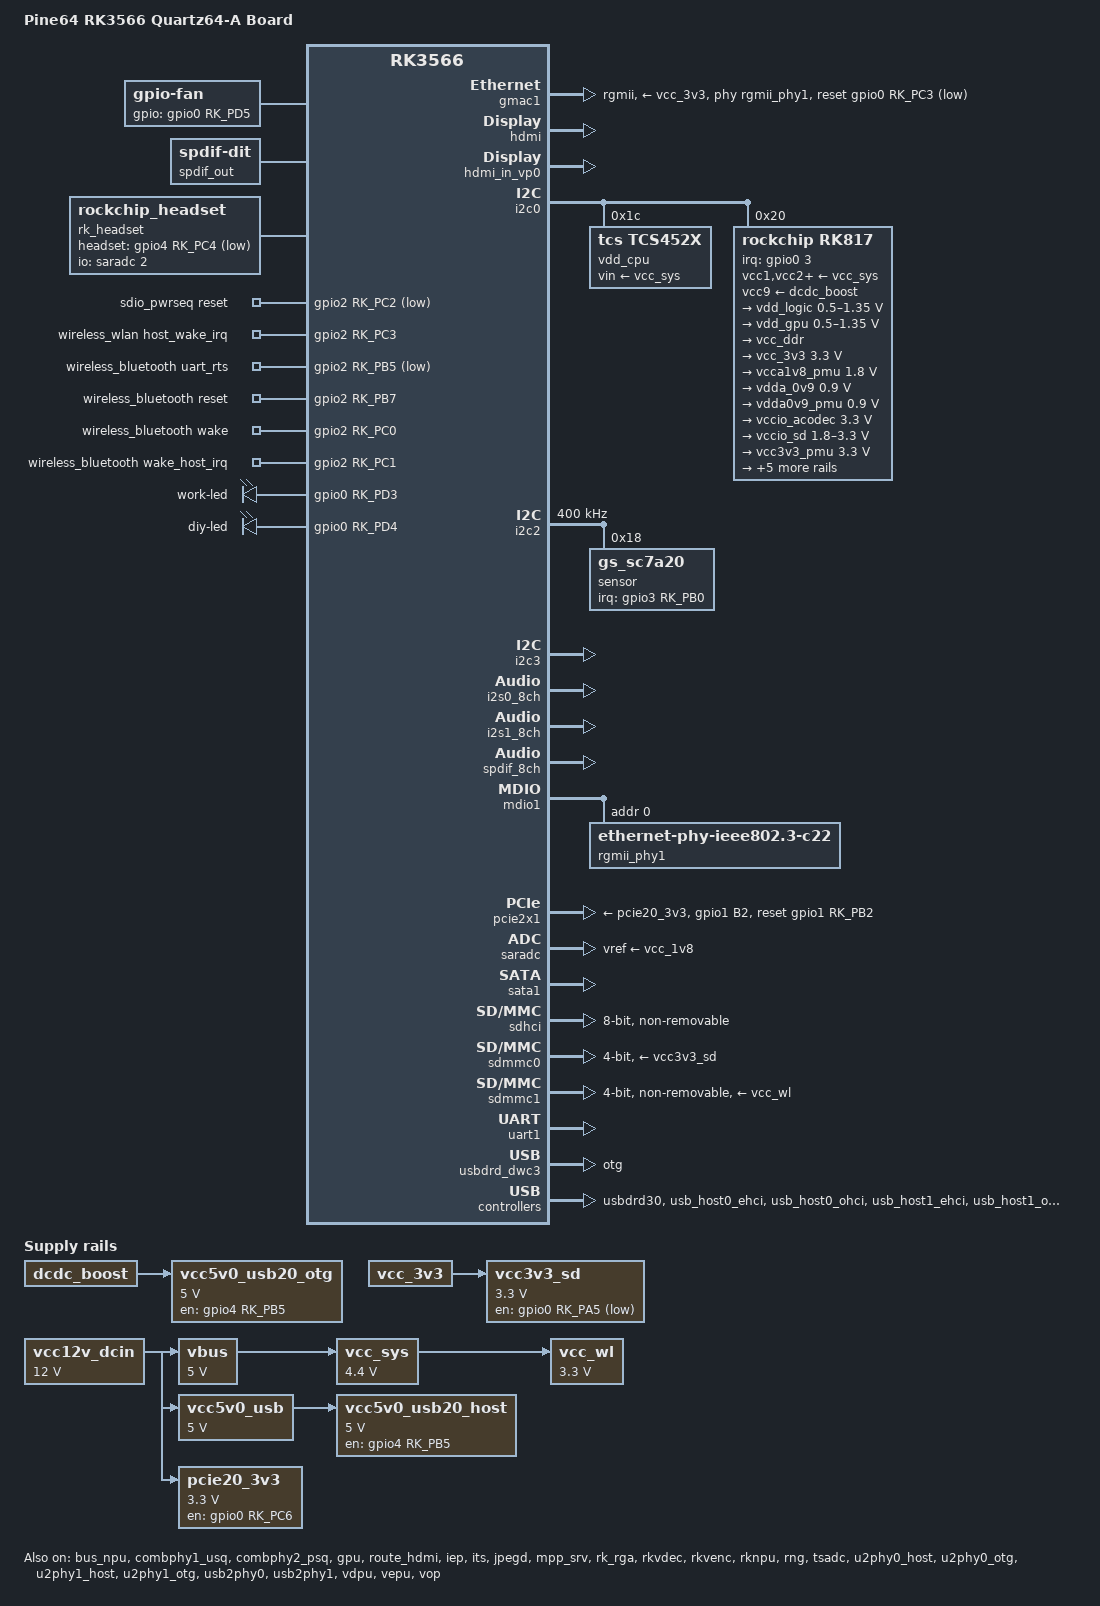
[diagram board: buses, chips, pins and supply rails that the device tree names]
// SPDX&sata1 -License-Identifier: (GPL-2.0+ OR MIT)
/*
 *  2022 Shaggy013
 *
 */

/dts-v1/;

#include <dt-bindings/gpio/gpio.h>
#include <dt-bindings/pwm/pwm.h>
#include <dt-bindings/pinctrl/rockchip.h>
//#include <dt-bindings/input/rk-input.h>
#include <dt-bindings/input/linux-event-codes.h>
#include <dt-bindings/display/drm_mipi_dsi.h>
#include <dt-bindings/sensor-dev.h>
#include <dt-bindings/display/media-bus-format.h>
#include <dt-bindings/display/rockchip_vop.h>
/* for 1056000 memeory speed */
//#include "rk3566-diff3.dtsi"
/* for 1560000 memeory speed */
//#include "rk3566-diff2.dtsi" 
#include "rk3566.dtsi"
#include "rk3568-android.dtsi"

/ {
	model = "Pine64 RK3566 Quartz64-A Board";
	compatible = "rockchip,rk3566-quartz64-a", "rockchip,rk3566";

//	chosen: chosen {
//		bootargs = "earlycon=uart8250,mmio32,0xfe660000 console=ttyFIQ0 root=PARTLABEL=rootfs rootfstype=ext4 rw rootwait overlayroot=device:dev=PARTLABEL=userdata,fstype=ext4,mkfs=1";
//	};
//	chosen: chosen {
//		bootargs = "earlycon=uart8250,mmio32,0xfe660000 console=ttyFIQ0 coherent_pool=1m";
//

	aliases {
		mmc0 = &sdmmc0;
		mmc1 = &sdmmc1;
		mmc2 = &sdhci;
	};

	fan: gpio_fan {
		compatible = "gpio-fan";
		gpios = <&gpio0 RK_PD5 GPIO_ACTIVE_HIGH>;
		gpio-fan,speed-map = <0    0
				      4500 1>;
		pinctrl-names = "default";
		pinctrl-0 = <&fan_en_h>;
		#cooling-cells = <2>;
	};


	vcc12v_dcin: vcc12v_dcin {
		compatible = "regulator-fixed";
		regulator-name = "vcc12v_dcin";
		regulator-always-on;
		regulator-boot-on;
		regulator-min-microvolt = <12000000>;
		regulator-max-microvolt = <12000000>;
	};

	/* vbus feeds the rk817 usb input.
	 * With no battery attached, also feeds vcc_bat+
	 * via ON/OFF_BAT jumper
	 */
	vbus: vbus {
		compatible = "regulator-fixed";
		regulator-name = "vbus";
		regulator-always-on;
		regulator-boot-on;
		regulator-min-microvolt = <5000000>;
		regulator-max-microvolt = <5000000>;
		vin-supply = <&vcc12v_dcin>;
	};

	vcc5v0_usb: vcc5v0_usb {
		compatible = "regulator-fixed";
		regulator-name = "vcc5v0_usb";
		regulator-always-on;
		regulator-boot-on;
		regulator-min-microvolt = <5000000>;
		regulator-max-microvolt = <5000000>;
		vin-supply = <&vcc12v_dcin>;
	};

	/* all four ports are controlled by one gpio
	 * the host ports are sourced from vcc5v0_usb
	 * the otg port is sourced from vcc5v0_midu
	 */
	vcc5v0_usb20_host: vcc5v0_usb20_host {
		compatible = "regulator-fixed";
		regulator-name = "vcc5v0_usb20_host";
		enable-active-high;
		gpio = <&gpio4 RK_PB5 GPIO_ACTIVE_HIGH>;
		pinctrl-names = "default";
		pinctrl-0 = <&vcc5v0_usb20_host_en>;
		regulator-min-microvolt = <5000000>;
		regulator-max-microvolt = <5000000>;
		vin-supply = <&vcc5v0_usb>;
	};

	vcc5v0_usb20_otg: vcc5v0_usb20_otg {
		compatible = "regulator-fixed";
		regulator-name = "vcc5v0_usb20_otg";
		enable-active-high;
		gpio = <&gpio4 RK_PB5 GPIO_ACTIVE_HIGH>;
		regulator-min-microvolt = <5000000>;
		regulator-max-microvolt = <5000000>;
		vin-supply = <&dcdc_boost>;
	};
	
	vcc3v3_sd: vcc3v3_sd {
		compatible = "regulator-fixed";
		enable-active-low;
		gpio = <&gpio0 RK_PA5 GPIO_ACTIVE_LOW>;
		pinctrl-names = "default";
		pinctrl-0 = <&vcc_sd_h>;
		regulator-boot-on;
		regulator-name = "vcc3v3_sd";
		regulator-min-microvolt = <3300000>;
		regulator-max-microvolt = <3300000>;
		vin-supply = <&vcc_3v3>;
	};

	/* sourced from vbus and vcc_bat+ via rk817 sw5 */
	vcc_sys: vcc-sys {
		compatible = "regulator-fixed";
		regulator-name = "vcc_sys";
		regulator-always-on;
		regulator-boot-on;
		regulator-min-microvolt = <4400000>;
		regulator-max-microvolt = <4400000>;
		vin-supply = <&vbus>;
	};

	/* sourced from vcc_sys, sdio module operates internally at 3.3v */
	vcc_wl: vcc_wl {
		compatible = "regulator-fixed";
		regulator-name = "vcc_wl";
		regulator-always-on;
		regulator-boot-on;
		regulator-min-microvolt = <3300000>;
		regulator-max-microvolt = <3300000>;
		vin-supply = <&vcc_sys>;
	};
	pcie20_3v3: pcie20_3v3 {
		compatible = "regulator-fixed";
		regulator-name = "pcie20_3v3";
		regulator-min-microvolt = <3300000>;
		regulator-max-microvolt = <3300000>;
		gpio = <&gpio0 RK_PC6 GPIO_ACTIVE_HIGH>;
		pinctrl-names = "default";
		pinctrl-0 = <&pcie_enable_h>;
		enable-active-high;
		startup-delay-us = <5000>;
		vin-supply = <&vcc12v_dcin>;
	};

	charge-animation {
		compatible = "rockchip,uboot-charge";
		rockchip,uboot-charge-on = <0>;
		rockchip,android-charge-on = <0>;
		rockchip,uboot-low-power-voltage = <3350>;
		rockchip,screen-on-voltage = <3400>;
		rockchip,auto-wakeup-interval = <60>;
		status = "okay";
	};

//	adc_keys: adc-keys {
//		compatible = "adc-keys";
//		io-channels = <&saradc 0>;
//		io-channel-names = "buttons";
//		keyup-threshold-microvolt = <1800000>;
//		poll-interval = <100>;
//
//		vol-up-key {
//			label = "volume up";
//			linux,code = <KEY_VOLUMEUP>;
//			press-threshold-microvolt = <1750>;
//		};
//
//		vol-down-key {
//			label = "volume down";
//			linux,code = <KEY_VOLUMEDOWN>;
//			press-threshold-microvolt = <297500>;
//		};
//	};

	hdmi_sound: hdmi-sound {
		compatible = "simple-audio-card";
		simple-audio-card,format = "i2s";
		simple-audio-card,mclk-fs = <256>;
		simple-audio-card,name = "rockchip,hdmi";
		status = "okay";

		simple-audio-card,cpu {
				sound-dai = <&i2s0_8ch>;
		};
		simple-audio-card,codec {
				sound-dai = <&hdmi>;
		};
	};

	spdif-sound {
		status = "okay";
		compatible = "simple-audio-card";
		simple-audio-card,name = "ROCKCHIP,SPDIF";
		simple-audio-card,cpu {
				sound-dai = <&spdif_8ch>;
		};
		simple-audio-card,codec {
				sound-dai = <&spdif_out>;
		};
	};

	spdif_out: spdif-out {
			status = "okay";
			compatible = "linux,spdif-dit";
			#sound-dai-cells = <0>;
	};

	
	rk817_sound: rk817-sound {
		status = "okay";
		compatible = "simple-audio-card";
		simple-audio-card,format = "i2s";
		simple-audio-card,name = "rockchip,rk809-codec";
		simple-audio-card,mclk-fs = <256>;

		simple-audio-card,cpu {
			sound-dai = <&i2s1_8ch>;
		};
		simple-audio-card,codec {
			sound-dai = <&rk817_codec>;
		};
	};

	vad_sound: vad-sound {
		status = "disabled";
		compatible = "rockchip,multicodecs-card";
		rockchip,card-name = "rockchip,rk3568-vad";
		rockchip,cpu = <&i2s1_8ch>;
		rockchip,codec = <&rk817_codec>, <&vad>;
	};

	rk_headset: rk-headset {
		compatible = "rockchip_headset";
		headset_gpio = <&gpio4 RK_PC4 GPIO_ACTIVE_LOW>;
		pinctrl-names = "default";
		pinctrl-0 = <&hp_det>;
		io-channels = <&saradc 2>;
	};

	sdio_pwrseq: sdio-pwrseq {
		compatible = "mmc-pwrseq-simple";
		clocks = <&rk817 1>;
		clock-names = "ext_clock";
		pinctrl-names = "default";
		pinctrl-0 = <&wifi_enable_h>;

		/*
		 * On the module itself this is one of these (depending
		 * on the actual card populated):
		 * - SDIO_RESET_L_WL_REG_ON
		 * - PDN (power down when low)
		 */
		post-power-on-delay-ms = <200>;
		reset-gpios = <&gpio2 RK_PC2 GPIO_ACTIVE_LOW>;
	};

	wireless_wlan: wireless-wlan {
    
		compatible = "wlan-platdata";
		rockchip,grf = <&grf>;
		clocks = <&rk817 1>;
		clock-names = "clk_wifi";
		wifi_chip_type = "ap6255";
		pinctrl-names = "default";
		pinctrl-0 = <&wifi_host_wake_irq>;
		WIFI,host_wake_irq = <&gpio2 RK_PC3 GPIO_ACTIVE_HIGH>;
		status = "okay";
	};

	wireless_bluetooth: wireless-bluetooth {
    
		compatible = "bluetooth-platdata";
		clocks = <&rk817 1>;
		clock-names = "ext_clock";
		//wifi-bt-power-toggle;
		uart_rts_gpios = <&gpio2 RK_PB5 GPIO_ACTIVE_LOW>;
		pinctrl-names = "default", "rts_gpio";
		pinctrl-0 = <&uart1m0_rtsn>;
		pinctrl-1 = <&uart1_gpios>;
		BT,reset_gpio    = <&gpio2 RK_PB7 GPIO_ACTIVE_HIGH>;
		BT,wake_gpio     = <&gpio2 RK_PC0 GPIO_ACTIVE_HIGH>;
		BT,wake_host_irq = <&gpio2 RK_PC1 GPIO_ACTIVE_HIGH>;
		status = "okay";
	};
	
	leds {
		compatible = "gpio-leds";

		led-work {
			label = "work-led";
			default-state = "off";
			gpios = <&gpio0 RK_PD3 GPIO_ACTIVE_HIGH>;
			pinctrl-names = "default";
			pinctrl-0 = <&work_led_enable_h>;
			retain-state-suspended;
		};

	led-diy {
			label = "diy-led";
			default-state = "on";
			gpios = <&gpio0 RK_PD4 GPIO_ACTIVE_HIGH>;
			linux,default-trigger = "heartbeat";
			pinctrl-names = "default";
			pinctrl-0 = <&diy_led_enable_h>;
			retain-state-suspended;
		};
	};
	
	reserved_memory: reserved-memory {
		#address-cells = <2>;
		#size-cells = <2>;
		ranges;
		
		rknpu_reserved: rknpu {
			compatible = "shared-dma-pool";
			inactive;
			reusable;     
			size = <0x0 0x20000000>;
			alignment = <0x0 0x1000>;
		};
	};
};

&bus_npu {
	bus-supply = <&vdd_logic>;
	pvtm-supply = <&vdd_cpu>;
	status = "okay";
};

&combphy1_usq {
	status = "okay";
};

&combphy2_psq {
	status = "okay";
};

&cpu0 {
	cpu-supply = <&vdd_cpu>;
};


&dfi {
	status = "disabled";
};

//&display_subsystem {
//    status = "okay";
//};

&dmc {
	//auto-freq-en = <0>;
	center-supply = <&vdd_logic>;
	status = "disabled";
};

&gmac1 {
	phy-mode = "rgmii";
	clock_in_out = "input";
	
	snps,reset-gpio = <&gpio0 RK_PC3 GPIO_ACTIVE_LOW>;
	snps,reset-active-low;
	/* Reset time is 20ms, 100ms for rtl8211f */
	snps,reset-delays-us = <0 20000 100000>;
	
	assigned-clocks = <&cru SCLK_GMAC1_RX_TX>, <&cru SCLK_GMAC1_RGMII_SPEED>, <&cru SCLK_GMAC1>;
	assigned-clock-parents = <&cru SCLK_GMAC1_RGMII_SPEED>, <&cru SCLK_GMAC1>, <&gmac1_clkin>;
	
	
	pinctrl-names = "default";
	pinctrl-0 = <&gmac1m0_miim
		     &gmac1m0_tx_bus2
		     &gmac1m0_rx_bus2
		     &gmac1m0_rgmii_clk
		     &gmac1m0_clkinout
		     &gmac1m0_rgmii_bus>;
	
	tx_delay = <0x30>;
	rx_delay = <0x10>;
	
	phy-handle = <&rgmii_phy1>;
	phy-supply = <&vcc_3v3>;
	status = "okay";
};

&gpu {
	mali-supply = <&vdd_gpu>;
	status = "okay";
};

&hdmi {
	status = "okay";
};

&hdmi_in_vp0 {
	status = "okay";
};

&hdmi_in_vp1 {
	status = "disabled";
};

&hdmi_sound {
	status = "okay";
};

&route_hdmi {
	status = "okay";
	connect = <&vp0_out_hdmi>;
};

&i2c0 {
	status = "okay";

	vdd_cpu: tcs4525@1c {
		compatible = "tcs,tcs452x";
		reg = <0x1c>;
		vin-supply = <&vcc_sys>;
		regulator-compatible = "fan53555-reg";
		regulator-name = "vdd_cpu";
		regulator-min-microvolt = <712500>;
		regulator-max-microvolt = <1390000>;
		regulator-ramp-delay = <2300>;
		fcs,suspend-voltage-selector = <1>;
		regulator-boot-on;
		regulator-always-on;
		regulator-state-mem {
			regulator-off-in-suspend;
		};
	};

	rk817: pmic@20 {
		compatible = "rockchip,rk817";
		reg = <0x20>;
		interrupt-parent = <&gpio0>;
		interrupts = <3 IRQ_TYPE_LEVEL_LOW>;

		pinctrl-names = "default", "pmic-sleep",
				"pmic-power-off", "pmic-reset";
		pinctrl-0 = <&pmic_int>;
		pinctrl-1 = <&soc_slppin_slp>, <&rk817_slppin_slp>;
		pinctrl-2 = <&soc_slppin_gpio>, <&rk817_slppin_pwrdn>;
		pinctrl-3 = <&soc_slppin_gpio>, <&rk817_slppin_rst>;

		rockchip,system-power-controller;
		wakeup-source;
		#clock-cells = <1>;
		clock-output-names = "rk808-clkout1", "rk808-clkout2";
		//fb-inner-reg-idxs = <2>;
		/* 1: rst regs (default in codes), 0: rst the pmic */
		pmic-reset-func = <0>;
		/* not save the PMIC_POWER_EN register in uboot */
		not-save-power-en = <1>;
		vcc1-supply = <&vcc_sys>;
		vcc2-supply = <&vcc_sys>;
		vcc3-supply = <&vcc_sys>;
		vcc4-supply = <&vcc_sys>;
		vcc5-supply = <&vcc_sys>;
		vcc6-supply = <&vcc_sys>;
		vcc7-supply = <&vcc_sys>;
		vcc8-supply = <&vcc_sys>;
		vcc9-supply = <&dcdc_boost>;

		pwrkey {
			status = "okay";
		};

		pinctrl_rk8xx: pinctrl_rk8xx {
			gpio-controller;
			#gpio-cells = <2>;

			rk817_slppin_null: rk817_slppin_null {
				pins = "gpio_slp";
				function = "pin_fun0";
			};

			rk817_slppin_slp: rk817_slppin_slp {
				pins = "gpio_slp";
				function = "pin_fun1";
			};

			rk817_slppin_pwrdn: rk817_slppin_pwrdn {
				pins = "gpio_slp";
				function = "pin_fun2";
			};

			rk817_slppin_rst: rk817_slppin_rst {
				pins = "gpio_slp";
				function = "pin_fun3";
			};
		};

		regulators {
			vdd_logic: DCDC_REG1 {
				regulator-always-on;
				regulator-boot-on;
				regulator-min-microvolt = <500000>;
				regulator-max-microvolt = <1350000>;
				regulator-init-microvolt = <900000>;
				regulator-ramp-delay = <6001>;
				regulator-initial-mode = <0x2>;
				regulator-name = "vdd_logic";
				regulator-state-mem {
					regulator-on-in-suspend;
					regulator-suspend-microvolt = <900000>;
				};
			};

			vdd_gpu: DCDC_REG2 {
				regulator-always-on;
				regulator-boot-on;
				regulator-min-microvolt = <500000>;
				regulator-max-microvolt = <1350000>;
				regulator-init-microvolt = <900000>;
				regulator-ramp-delay = <6001>;
				regulator-initial-mode = <0x2>;
				regulator-name = "vdd_gpu";
				regulator-state-mem {
					regulator-off-in-suspend;
				};
			};

			vcc_ddr: DCDC_REG3 {
				regulator-always-on;
				regulator-boot-on;
				regulator-initial-mode = <0x2>;
				regulator-name = "vcc_ddr";
				regulator-state-mem {
					regulator-on-in-suspend;
				};
			};

			vcc_3v3: DCDC_REG4 {
				regulator-always-on;
				regulator-boot-on;
				regulator-min-microvolt = <3300000>;
				regulator-max-microvolt = <3300000>;
				regulator-initial-mode = <0x2>;
				regulator-name = "vcc_3v3";
				regulator-state-mem {
					regulator-off-in-suspend;
				};
			};

			vcca1v8_pmu: LDO_REG1 {
				regulator-always-on;
				regulator-boot-on;
				regulator-min-microvolt = <1800000>;
				regulator-max-microvolt = <1800000>;
				regulator-name = "vcca1v8_pmu";
				regulator-state-mem {
					regulator-on-in-suspend;
					regulator-suspend-microvolt = <1800000>;
				};
			};

			vdda_0v9: LDO_REG2 {
				regulator-always-on;
				regulator-boot-on;
				regulator-min-microvolt = <900000>;
				regulator-max-microvolt = <900000>;
				regulator-name = "vdda_0v9";
				regulator-state-mem {
					regulator-off-in-suspend;
				};
			};

			vdda0v9_pmu: LDO_REG3 {
				regulator-always-on;
				regulator-boot-on;
				regulator-min-microvolt = <900000>;
				regulator-max-microvolt = <900000>;
				regulator-name = "vdda0v9_pmu";
				regulator-state-mem {
					regulator-on-in-suspend;
					regulator-suspend-microvolt = <900000>;
				};
			};

			vccio_acodec: LDO_REG4 {
				regulator-always-on;
				regulator-boot-on;
				regulator-min-microvolt = <3300000>;
				regulator-max-microvolt = <3300000>;
				regulator-name = "vccio_acodec";
				regulator-state-mem {
					regulator-off-in-suspend;
				};
			};

			vccio_sd: LDO_REG5 {
				regulator-always-on;
				regulator-boot-on;
				regulator-min-microvolt = <1800000>;
				regulator-max-microvolt = <3300000>;
				regulator-name = "vccio_sd";
				regulator-state-mem {
					regulator-off-in-suspend;
				};
			};

			vcc3v3_pmu: LDO_REG6 {
				regulator-always-on;
				regulator-boot-on;
				regulator-min-microvolt = <3300000>;
				regulator-max-microvolt = <3300000>;
				regulator-name = "vcc3v3_pmu";
				regulator-state-mem {
					regulator-on-in-suspend;
					regulator-suspend-microvolt = <3300000>;
				};
			};

			vcc_1v8: LDO_REG7 {
				regulator-always-on;
				regulator-boot-on;
				regulator-min-microvolt = <1800000>;
				regulator-max-microvolt = <1800000>;
				regulator-name = "vcc_1v8";
				regulator-state-mem {
					regulator-off-in-suspend;
				};
			};

			vcc1v8_dvp: LDO_REG8 {
				regulator-always-on;
				regulator-boot-on;
				regulator-min-microvolt = <1800000>;
				regulator-max-microvolt = <1800000>;
				regulator-name = "vcc1v8_dvp";
				regulator-state-mem {
					regulator-off-in-suspend;
				};
			};

			vcc2v8_dvp: LDO_REG9 {
				regulator-always-on;
				regulator-boot-on;
				regulator-min-microvolt = <2800000>;
				regulator-max-microvolt = <2800000>;
				regulator-name = "vcc2v8_dvp";
				regulator-state-mem {
					regulator-off-in-suspend;
				};
			};

			dcdc_boost: BOOST {
				regulator-always-on;
				regulator-boot-on;
				regulator-min-microvolt = <4700000>;
				regulator-max-microvolt = <5400000>;
				regulator-name = "boost";
				regulator-state-mem {
					regulator-off-in-suspend;
				};
			};

			otg_switch: OTG_SWITCH {
				regulator-name = "otg_switch";
				regulator-state-mem {
					regulator-off-in-suspend;
				};
			};
		};

		battery {
			compatible = "rk817,battery";
			ocv_table = <3400 3513 3578 3687 3734 3752 3763
				     3766 3771 3784 3804 3836 3885 3925
				     3962 4005 4063 4114 4169 4227 4303>;
			design_capacity = <5000>;
			design_qmax = <5500>;
			bat_res = <100>;
			sleep_enter_current = <150>;
			sleep_exit_current = <180>;
			sleep_filter_current = <100>;
			power_off_thresd = <3450>;
			zero_algorithm_vol = <3850>;
			max_soc_offset = <60>;
			monitor_sec = <5>;
			sample_res = <10>;
			virtual_power = <0>;
		};

		charger {
			compatible = "rk817,charger";
			min_input_voltage = <4500>;
			max_input_current = <1500>;
			max_chrg_current = <2000>;
			max_chrg_voltage = <4300>;
			chrg_term_mode = <0>;
			chrg_finish_cur = <300>;
			virtual_power = <0>;
			dc_det_adc = <0>;
			extcon = <&usb2phy0>;
		};

		rk817_codec: codec {
			#sound-dai-cells = <0>;
			compatible = "rockchip,rk817-codec";
			clocks = <&cru I2S1_MCLKOUT>;
			clock-names = "mclk";
			assigned-clocks = <&cru I2S1_MCLKOUT>, <&cru I2S1_MCLK_TX_IOE>;
			assigned-clock-rates = <12288000>;
			assigned-clock-parents = <&cru I2S1_MCLKOUT_TX>, <&cru I2S1_MCLKOUT_TX>;
			pinctrl-names = "default";
			pinctrl-0 = <&i2s1m0_mclk>;
			hp-volume = <20>;
			spk-volume = <3>;
			out-l2spk-r2hp;
			spk-ctl-gpios = <&gpio0 RK_PC4 GPIO_ACTIVE_HIGH>;
			status = "okay";
		};
	};
};

&i2c1 {
	status = "disabled";
	tps65185: tps65185@68 {
		status = "okay";
		compatible = "ti,tps65185";
		reg = <0x68>;
		pinctrl-names = "default";
		pinctrl-0 = <&tps65185_gpio>;
		int-gpios = <&gpio4 RK_PB0 GPIO_ACTIVE_HIGH>;
		wakeup-gpios = <&gpio4 RK_PC3 GPIO_ACTIVE_HIGH>;
		vcomctl-gpios = <&gpio4 RK_PB2 GPIO_ACTIVE_HIGH>;
		powerup-gpios = <&gpio4 RK_PC4 GPIO_ACTIVE_HIGH>;
		poweren-gpios = <&gpio4 RK_PB1 GPIO_ACTIVE_HIGH>;
	};
};

&i2c2 {
status = "okay";
	clock-frequency = <400000>;
	i2c-scl-rising-time-ns = <144>;
	i2c-scl-falling-time-ns = <4>;

	sensor@18 {
		compatible = "gs_sc7a20";
		reg = <0x18>;
		type = <SENSOR_TYPE_ACCEL>;
		irq_enable = <0>;
		pinctrl-names = "default";
		pinctrl-0 = <&sensor_gpio>;
		irq-gpio = <&gpio3 RK_PB0 IRQ_TYPE_EDGE_RISING>;
		poll_delay_ms = <10>;
		layout = <1>;
	};
};

&i2c3 {
	status = "okay";
//	pinctrl-names = "default";
//	pinctrl-0 = <&i2c3m1_xfer>;
};

&i2s0_8ch {
	status = "okay";
};

&i2s1_8ch {
    
	status = "okay";
	rockchip,clk-trcm = <1>;
	pinctrl-names = "default";
	pinctrl-0 = <&i2s1m0_sclktx
		     &i2s1m0_lrcktx
		     &i2s1m0_sdi0
		     &i2s1m0_sdo0>;
};

&spdif_8ch {
	status = "okay";
};

&iep {
	status = "okay";
};

&iep_mmu {
	status = "okay";
};

&its {
    status = "okay";
};

&jpegd {
	status = "okay";
};

&jpegd_mmu {
	status = "okay";
};

&mdio1 {
        rgmii_phy1: phy@0 {
                compatible = "ethernet-phy-ieee802.3-c22";
                reg = <0x0>;
        };
};

&mpp_srv {
	status = "okay";
};

&nandc0 {
	status = "disabled";
};

&pcie2x1 {
	pinctrl-names = "default";
	pinctrl-0 = <&pcie_reset_h>;
	reset-gpios = <&gpio1 RK_PB2 GPIO_ACTIVE_HIGH>;
	status = "okay";
	vpcie3v3-supply = <&pcie20_3v3>;
};

&pinctrl {

	bt {
		bt_enable_h: bt-enable-h {
			rockchip,pins = <2 RK_PB7 RK_FUNC_GPIO &pcfg_pull_none>;
		};

		bt_host_wake_l: bt-host-wake-l {
			rockchip,pins = <2 RK_PC1 RK_FUNC_GPIO &pcfg_pull_down>;
		};

		bt_wake_l: bt-wake-l {
			rockchip,pins = <2 RK_PC0 RK_FUNC_GPIO &pcfg_pull_none>;
		};
	};

	headphone {
		hp_det: hp-det {
			rockchip,pins = <4 RK_PC4 RK_FUNC_GPIO &pcfg_pull_down>;
		};
	};

	sensor {
		sensor_gpio: sensor-gpio {
			rockchip,pins = <3 RK_PB0 RK_FUNC_GPIO &pcfg_pull_none>;
		};
	};
	
	tps_pmic {
		tps65185_gpio: tps65185-gpio {
			rockchip,pins =
					<4 RK_PB2 RK_FUNC_GPIO &pcfg_pull_up>,
					<3 RK_PA5 RK_FUNC_GPIO &pcfg_pull_up>,
					<3 RK_PB0 RK_FUNC_GPIO &pcfg_pull_up>;
		};
	};
	
	pcie {
		pcie_enable_h: pcie-enable-h {
			rockchip,pins = <0 RK_PC6 RK_FUNC_GPIO &pcfg_pull_none>;
		};

		pcie_reset_h: pcie-reset-h {
			rockchip,pins = <1 RK_PB2 RK_FUNC_GPIO &pcfg_pull_none>;
		};
	};

	pmic {
		pmic_int: pmic_int {
			rockchip,pins =
				<0 RK_PA3 RK_FUNC_GPIO &pcfg_pull_up>;
		};

		soc_slppin_gpio: soc_slppin_gpio {
			rockchip,pins =
				<0 RK_PA2 RK_FUNC_GPIO &pcfg_output_low>;
		};

		soc_slppin_slp: soc_slppin_slp {
			rockchip,pins =
				<0 RK_PA2 1 &pcfg_pull_none>;
		};

		soc_slppin_rst: soc_slppin_rst {
			rockchip,pins =
				<0 RK_PA2 2 &pcfg_pull_none>;
		};
	};

	sdio-pwrseq {
		wifi_enable_h: wifi-enable-h {
			rockchip,pins = <2 RK_PC2 RK_FUNC_GPIO &pcfg_pull_none>;
		};
	};
	
	usb2 {
		vcc5v0_usb20_host_en: vcc5v0-usb20-host-en {
			rockchip,pins = <4 RK_PB5 RK_FUNC_GPIO &pcfg_pull_none>;
		};
	};

	vcc_sd {
		vcc_sd_h: vcc-sd-h {
			rockchip,pins = <0 RK_PA5 RK_FUNC_GPIO &pcfg_pull_none>;
		};
	};

	wireless-wlan {
		wifi_host_wake_irq: wifi-host-wake-irq {
			rockchip,pins = <2 RK_PC3 RK_FUNC_GPIO &pcfg_pull_down>;
		};
	};

	wireless-bluetooth {
		uart1_gpios: uart1-gpios {
			rockchip,pins = <2 RK_PB5 RK_FUNC_GPIO &pcfg_pull_none>;
		};
	};
	
	leds {
		work_led_enable_h: work-led-enable-h {
			rockchip,pins = <0 RK_PD3 RK_FUNC_GPIO &pcfg_pull_none>;
		};

		diy_led_enable_h: diy-led-enable-h {
			rockchip,pins = <0 RK_PD4 RK_FUNC_GPIO &pcfg_pull_none>;
		};
	};
	
	fan {
		fan_en_h: fan-en-h {
			rockchip,pins = <0 RK_PD5 RK_FUNC_GPIO &pcfg_pull_none>;
		};
	};

};

&pmu_io_domains {
	status = "okay";
	pmuio1-supply = <&vcc3v3_pmu>;
	pmuio2-supply = <&vcc_3v3>;
	vccio1-supply = <&vccio_acodec>;
	vccio2-supply = <&vcc_1v8>;
	vccio3-supply = <&vccio_sd>;
	vccio4-supply = <&vcca1v8_pmu>;
	vccio5-supply = <&vcc_3v3>;
	vccio6-supply = <&vcc1v8_dvp>;
	vccio7-supply = <&vcc_3v3>;
};

&pwm3 {
	compatible = "rockchip,remotectl-pwm";
	pinctrl-names = "default";
	pinctrl-0 = <&pwm3_pins>;
	remote_pwm_id = <3>;
	handle_cpu_id = <1>;
	remote_support_psci = <0>;
	status = "disabled";

	ir_key1 {
		rockchip,usercode = <0x4040>;
		rockchip,key_table =
			<0xf2	KEY_REPLY>,
			<0xba	KEY_BACK>,
			<0xf4	KEY_UP>,
			<0xf1	KEY_DOWN>,
			<0xef	KEY_LEFT>,
			<0xee	KEY_RIGHT>,
			<0xbd	KEY_HOME>,
			<0xea	KEY_VOLUMEUP>,
			<0xe3	KEY_VOLUMEDOWN>,
			<0xe2	KEY_SEARCH>,
			<0xb2	KEY_POWER>,
			<0xbc	KEY_MUTE>,
			<0xec	KEY_MENU>,
			<0xbf	0x190>,
			<0xe0	0x191>,
			<0xe1	0x192>,
			<0xe9	183>,
			<0xe6	248>,
			<0xe8	185>,
			<0xe7	186>,
			<0xf0	388>,
			<0xbe	0x175>;
	};

	ir_key2 {
		rockchip,usercode = <0xff00>;
		rockchip,key_table =
			<0xf9	KEY_HOME>,
			<0xbf	KEY_BACK>,
			<0xfb	KEY_MENU>,
			<0xaa	KEY_REPLY>,
			<0xb9	KEY_UP>,
			<0xe9	KEY_DOWN>,
			<0xb8	KEY_LEFT>,
			<0xea	KEY_RIGHT>,
			<0xeb	KEY_VOLUMEDOWN>,
			<0xef	KEY_VOLUMEUP>,
			<0xf7	KEY_MUTE>,
			<0xe7	KEY_POWER>,
			<0xfc	KEY_POWER>,
			<0xa9	KEY_VOLUMEDOWN>,
			<0xa8	KEY_PLAYPAUSE>,
			<0xe0	KEY_VOLUMEDOWN>,
			<0xa5	KEY_VOLUMEDOWN>,
			<0xab	183>,
			<0xb7	388>,
			<0xe8	388>,
			<0xf8	184>,
			<0xaf	185>,
			<0xed	KEY_VOLUMEDOWN>,
			<0xee	186>,
			<0xb3	KEY_VOLUMEDOWN>,
			<0xf1	KEY_VOLUMEDOWN>,
			<0xf2	KEY_VOLUMEDOWN>,
			<0xf3	KEY_SEARCH>,
			<0xb4	KEY_VOLUMEDOWN>,
			<0xa4	KEY_SETUP>,
			<0xbe	KEY_SEARCH>;
	};

	ir_key3 {
		rockchip,usercode = <0x1dcc>;
		rockchip,key_table =
			<0xee	KEY_REPLY>,
			<0xf0	KEY_BACK>,
			<0xf8	KEY_UP>,
			<0xbb	KEY_DOWN>,
			<0xef	KEY_LEFT>,
			<0xed	KEY_RIGHT>,
			<0xfc	KEY_HOME>,
			<0xf1	KEY_VOLUMEUP>,
			<0xfd	KEY_VOLUMEDOWN>,
			<0xb7	KEY_SEARCH>,
			<0xff	KEY_POWER>,
			<0xf3	KEY_MUTE>,
			<0xbf	KEY_MENU>,
			<0xf9	0x191>,
			<0xf5	0x192>,
			<0xb3	388>,
			<0xbe	KEY_1>,
			<0xba	KEY_2>,
			<0xb2	KEY_3>,
			<0xbd	KEY_4>,
			<0xf9	KEY_5>,
			<0xb1	KEY_6>,
			<0xfc	KEY_7>,
			<0xf8	KEY_8>,
			<0xb0	KEY_9>,
			<0xb6	KEY_0>,
			<0xb5	KEY_BACKSPACE>;
	};
};

&rk_rga {
	status = "okay";
};

&rkvdec {
	status = "okay";
};

&rkvdec_mmu {
	status = "okay";
};

&rkvenc {
	venc-supply = <&vdd_logic>;
	status = "okay";
};

&rkvenc_mmu {
	status = "okay";
};

&rknpu {
	memory-region = <&rknpu_reserved>;
	rknpu-supply = <&vdd_gpu>;
	status = "okay";
};

&rknpu_mmu {
	status = "disabled";
};

&rng {
	status = "okay";
};


&saradc {
	status = "okay";
	vref-supply = <&vcc_1v8>;
};

/* sata1 is muxed with the usb3 port */
&sata1 {
//	status = "disabled";
	status = "okay";
};

/* sata2 is muxed with the pcie2 slot*/
/delete-node/ &sata2;
//&sata2 {
//	target-supply = <&pcie20_3v3>;
//	status = "disabled";
//	status = "okay";
//};

&sdhci {
	bus-width = <8>;
	no-sdio;
	no-sd;
	non-removable;
	keep-power-in-suspend;
	rockchip,txclk-tapnum = <0x8>;
	max-frequency = <200000000>;
	status = "okay";
};

&sdmmc0 {
	max-frequency = <150000000>;
	no-sdio;
	no-mmc;
	bus-width = <4>;
	cap-mmc-highspeed;
	cap-sd-highspeed;
	disable-wp;
	sd-uhs-sdr104;
	vmmc-supply = <&vcc3v3_sd>;
	vqmmc-supply = <&vccio_sd>;
	pinctrl-names = "default";
	pinctrl-0 = <&sdmmc0_bus4 &sdmmc0_clk &sdmmc0_cmd &sdmmc0_det>;
	status = "okay";
};

&sdmmc1 {
	max-frequency=<150000000>;
	supports-sdio;
	bus-width = <4>;
	disable-wp;
	cap-sd-highspeed;
	cap-sdio-irq;
	keep-power-in-suspend;
	non-removable;
	rockchip,default-sample-phase=<90>;
	mmc-pwrseq = <&sdio_pwrseq>;
	non-removable;
	vmmc-supply = <&vcc_wl>;
	vqmmc-supply = <&vcc_1v8>;
	pinctrl-names = "default";
	pinctrl-0 = <&sdmmc1_bus4 &sdmmc1_cmd &sdmmc1_clk>;
	sd-uhs-sdr104;
	status = "okay";
};

&sfc {
	#address-cells = <1>;
	#size-cells = <0>;
	status = "disabled";

	flash@0 {
		compatible = "jedec,spi-nor";
		reg = <0>;
		spi-max-frequency = <108000000>;
		spi-rx-bus-width = <4>;
		spi-tx-bus-width = <1>;
	};
};

&soc_thermal {
	trips {
		cpu_warm: cpu_warm {
			temperature = <55000>;
			hysteresis = <2000>;
			type = "active";
		};

		cpu_hot: cpu_hot {
			temperature = <65000>;
			hysteresis = <2000>;
			type = "active";
		};
	};

	cooling-maps {
		map2 {
			trip = <&cpu_warm>;
			cooling-device = <&fan THERMAL_NO_LIMIT 1>;
		};

		map3 {
			trip = <&cpu_hot>;
			cooling-device = <&fan 2 THERMAL_NO_LIMIT>;
		};
	};
};

&tsadc {
	status = "okay";
};

&uart1 {
	status = "okay";
	pinctrl-names = "default";
	pinctrl-0 = <&uart1m0_xfer &uart1m0_ctsn>;
};

&uart2 {
//	status = "okay";
	pinctrl-names = "default";
	pinctrl-0 = <&uart2m0_xfer>;
};

&u2phy0_host {
	phy-supply = <&vcc5v0_usb20_host>;
	status = "okay";
};

&u2phy0_otg {
	vbus-supply = <&vcc5v0_usb20_otg>;
	status = "okay";
};

&u2phy1_host {
	phy-supply = <&vcc5v0_usb20_host>;
	status = "okay";
};

&u2phy1_otg {
	phy-supply = <&vcc5v0_usb20_host>;
	status = "okay";
};

&usb2phy0 {
	status = "okay";
};

&usbdrd_dwc3 {
	dr_mode = "otg";
	extcon = <&usb2phy0>;
	status = "okay";
};

&usbdrd30 {
	status = "okay";
};

/* usb3 controller is muxed with sata1 */
&usbhost_dwc3 {
	status = "disabled";
};

/* usb3 controller is muxed with sata1 */
&usbhost30 {
	status = "disabled";
};

&usb_host0_ehci {
	status = "okay";
};

&usb_host0_ohci {
	status = "okay";
};

&usb_host1_ehci {
	status = "okay";
};

&usb_host1_ohci {
	status = "okay";
};

&usb2phy1 {
	status = "okay";
};

&vad {
	rockchip,audio-src = <&i2s1_8ch>;
	rockchip,buffer-time-ms = <128>;
	rockchip,det-channel = <0>;
	rockchip,mode = <0>;
};

&vdpu {
	status = "okay";
};

&vdpu_mmu {
	status = "okay";
};

&vepu {
	status = "okay";
};

&vepu_mmu {
	status = "okay";
};

&video_phy0 {
	status = "disabled";
};

&video_phy1 {
	status = "disabled";
};

&vop {
	status = "okay";
	assigned-clocks = <&cru DCLK_VOP0>, <&cru DCLK_VOP1>;
	assigned-clock-parents = <&pmucru PLL_HPLL>, <&cru PLL_VPLL>;
	support-multi-area;
};

&vop_mmu {
	status = "okay";
};
